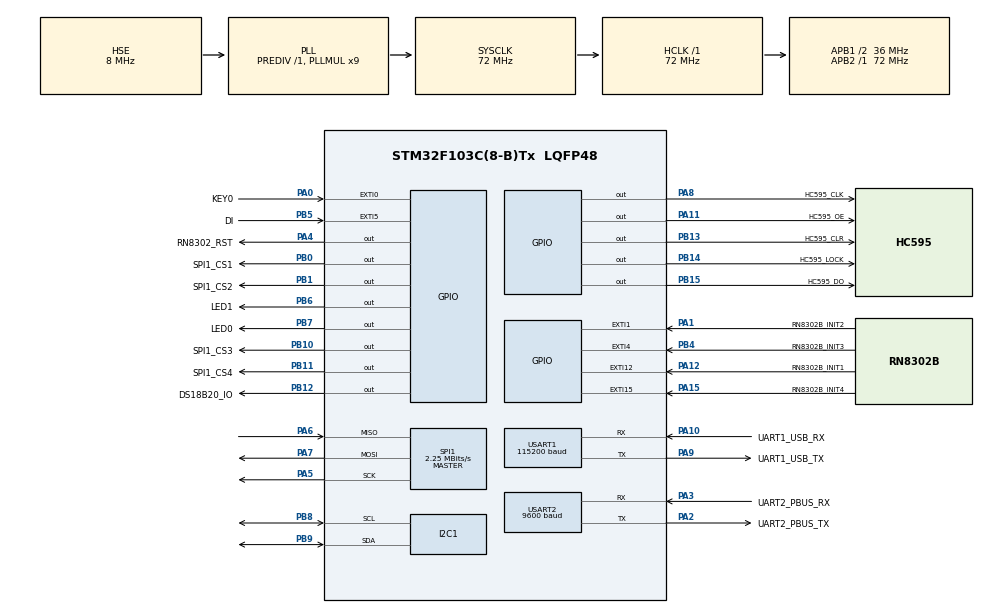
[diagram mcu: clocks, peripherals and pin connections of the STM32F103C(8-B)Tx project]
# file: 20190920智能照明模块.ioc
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Dma.Request0=USART1_RX
Dma.USART1_RX.0.Direction=DMA_PERIPH_TO_MEMORY
Dma.USART1_RX.0.Instance=DMA1_Channel5
Dma.USART1_RX.0.MemDataAlignment=DMA_MDATAALIGN_BYTE
Dma.USART1_RX.0.MemInc=DMA_MINC_ENABLE
Dma.USART1_RX.0.Mode=DMA_NORMAL
Dma.USART1_RX.0.PeriphDataAlignment=DMA_PDATAALIGN_BYTE
Dma.USART1_RX.0.PeriphInc=DMA_PINC_DISABLE
Dma.USART1_RX.0.Priority=DMA_PRIORITY_LOW
FREERTOS.Tasks01=defaultTask,0,128,StartDefaultTask,Default,NULL
FREERTOS.configMAX_PRIORITIES=32
FREERTOS.configMINIMAL_STACK_SIZE=64
FREERTOS.configTOTAL_HEAP_SIZE=5120
FREERTOS.configUSE_TIMERS=1
IWDG.Prescaler=IWDG_PRESCALER_256
Mcu.Family=STM32F1
Mcu.Name=STM32F103C(8-B)Tx
Mcu.Package=LQFP48
NVIC.DMA1_Channel5_IRQn=true\:0\:0\:true\:false\:true\:true\:false\:true
NVIC.EXTI0_IRQn=true\:4\:0\:true\:false\:true\:true\:true\:true
NVIC.EXTI9_5_IRQn=true\:4\:0\:true\:false\:true\:true\:true\:true
NVIC.PriorityGroup=NVIC_PRIORITYGROUP_4
NVIC.SPI1_IRQn=true\:4\:0\:true\:false\:true\:true\:true\:true
NVIC.USART1_IRQn=true\:5\:0\:true\:false\:true\:true\:true\:true
NVIC.USART2_IRQn=true\:5\:0\:true\:false\:true\:true\:true\:true
PA0-WKUP.GPIO_Label=KEY0
PA0-WKUP.GPIO_ModeDefaultEXTI=GPIO_MODE_IT_FALLING
PA0-WKUP.Signal=GPXTI0
PA1.GPIO_Label=RN8302B_INIT2
PA1.GPIO_ModeDefaultEXTI=GPIO_MODE_IT_FALLING
PA1.Signal=GPXTI1
PA10.GPIO_Label=UART1_USB_RX
PA10.Mode=Asynchronous
PA10.Signal=USART1_RX
PA11.GPIO_Label=HC595_OE
PA11.PinState=GPIO_PIN_RESET
PA11.Signal=GPIO_Output
PA12.GPIO_Label=RN8302B_INIT1
PA12.GPIO_ModeDefaultEXTI=GPIO_MODE_IT_FALLING
PA12.Signal=GPXTI12
PA13.Mode=Serial_Wire
PA13.Signal=SYS_JTMS-SWDIO
PA14.Mode=Serial_Wire
PA14.Signal=SYS_JTCK-SWCLK
PA15.GPIO_Label=RN8302B_INIT4
PA15.GPIO_ModeDefaultEXTI=GPIO_MODE_IT_FALLING
PA15.Signal=GPXTI15
PA2.GPIO_Label=UART2_PBUS_TX
PA2.Mode=Asynchronous
PA2.Signal=USART2_TX
PA3.GPIO_Label=UART2_PBUS_RX
PA3.Mode=Asynchronous
PA3.Signal=USART2_RX
PA4.GPIO_Label=RN8302_RST
PA4.GPIO_Speed=GPIO_SPEED_FREQ_HIGH
PA4.PinState=GPIO_PIN_SET
PA4.Signal=GPIO_Output
PA5.Mode=Full_Duplex_Master
PA5.Signal=SPI1_SCK
PA6.Mode=Full_Duplex_Master
PA6.Signal=SPI1_MISO
PA7.Mode=Full_Duplex_Master
PA7.Signal=SPI1_MOSI
PA8.GPIO_Label=HC595_CLK
PA8.GPIO_Speed=GPIO_SPEED_FREQ_HIGH
PA8.Signal=GPIO_Output
PA9.GPIO_Label=UART1_USB_TX
PA9.Mode=Asynchronous
PA9.Signal=USART1_TX
PB0.GPIO_Label=SPI1_CS1
PB0.GPIO_Speed=GPIO_SPEED_FREQ_HIGH
PB0.PinState=GPIO_PIN_SET
PB0.Signal=GPIO_Output
PB1.GPIO_Label=SPI1_CS2
PB1.GPIO_Speed=GPIO_SPEED_FREQ_HIGH
PB1.PinState=GPIO_PIN_SET
PB1.Signal=GPIO_Output
PB10.GPIO_Label=SPI1_CS3
PB10.GPIO_Speed=GPIO_SPEED_FREQ_HIGH
PB10.PinState=GPIO_PIN_SET
PB10.Signal=GPIO_Output
PB11.GPIO_Label=SPI1_CS4
PB11.GPIO_Speed=GPIO_SPEED_FREQ_HIGH
PB11.PinState=GPIO_PIN_SET
PB11.Signal=GPIO_Output
PB12.GPIO_Label=DS18B20_IO
PB12.GPIO_Speed=GPIO_SPEED_FREQ_HIGH
PB12.PinState=GPIO_PIN_SET
PB12.Signal=GPIO_Output
PB13.GPIO_Label=HC595_CLR
PB13.GPIO_Speed=GPIO_SPEED_FREQ_HIGH
PB13.PinState=GPIO_PIN_SET
PB13.Signal=GPIO_Output
PB14.GPIO_Label=HC595_LOCK
PB14.GPIO_Speed=GPIO_SPEED_FREQ_HIGH
PB14.PinState=GPIO_PIN_RESET
PB14.Signal=GPIO_Output
PB15.GPIO_Label=HC595_DO
PB15.GPIO_Speed=GPIO_SPEED_FREQ_HIGH
PB15.PinState=GPIO_PIN_RESET
PB15.Signal=GPIO_Output
PB3.Signal=SYS_JTDO-TRACESWO
PB4.GPIO_Label=RN8302B_INIT3
PB4.GPIO_ModeDefaultEXTI=GPIO_MODE_IT_FALLING
PB4.Signal=GPXTI4
PB5.GPIO_Label=DI
PB5.GPIO_ModeDefaultEXTI=GPIO_MODE_IT_FALLING
PB5.Signal=GPXTI5
PB6.GPIO_Label=LED1
PB6.PinState=GPIO_PIN_SET
PB6.Signal=GPIO_Output
PB7.GPIO_Label=LED0
PB7.PinState=GPIO_PIN_SET
PB7.Signal=GPIO_Output
PB8.Mode=I2C
PB8.Signal=I2C1_SCL
PB9.Mode=I2C
PB9.Signal=I2C1_SDA
PC14-OSC32_IN.Mode=LSE-External-Oscillator
PC14-OSC32_IN.Signal=RCC_OSC32_IN
PC15-OSC32_OUT.Mode=LSE-External-Oscillator
PC15-OSC32_OUT.Signal=RCC_OSC32_OUT
PD0-OSC_IN.Mode=HSE-External-Oscillator
PD0-OSC_IN.Signal=RCC_OSC_IN
PD1-OSC_OUT.Mode=HSE-External-Oscillator
PD1-OSC_OUT.Signal=RCC_OSC_OUT
ProjectManager.HeapSize=0x200
ProjectManager.StackSize=0x400
ProjectManager.TargetToolchain=TrueSTUDIO
RCC.AHBFreq_Value=72000000
RCC.APB1CLKDivider=RCC_HCLK_DIV2
RCC.APB1Freq_Value=36000000
RCC.APB1TimFreq_Value=72000000
RCC.APB2Freq_Value=72000000
RCC.APB2TimFreq_Value=72000000
RCC.HCLKFreq_Value=72000000
RCC.PLLMUL=RCC_PLL_MUL9
RCC.PLLSourceVirtual=RCC_PLLSOURCE_HSE
RCC.RTCClockSelection=RCC_RTCCLKSOURCE_LSE
RCC.SYSCLKFreq_VALUE=72000000
RCC.SYSCLKSource=RCC_SYSCLKSOURCE_PLLCLK
RCC.USBFreq_Value=72000000
SPI1.BaudRatePrescaler=SPI_BAUDRATEPRESCALER_32
SPI1.CLKPhase=SPI_PHASE_2EDGE
SPI1.CLKPolarity=SPI_POLARITY_LOW
SPI1.CalculateBaudRate=2.25 MBits/s
SPI1.Direction=SPI_DIRECTION_2LINES
SPI1.Mode=SPI_MODE_MASTER
SPI1.VirtualType=VM_MASTER
TIM4.AutoReloadPreload=TIM_AUTORELOAD_PRELOAD_ENABLE
TIM4.Period=1
TIM4.Prescaler=71
USART1.BaudRate=115200
USART1.VirtualMode=VM_ASYNC
USART2.BaudRate=9600
USART2.VirtualMode=VM_ASYNC
VP_FREERTOS_VS_CMSIS_V1.Mode=CMSIS_V1
VP_IWDG_VS_IWDG.Mode=IWDG_Activate
VP_RTC_VS_RTC_Activate.Mode=RTC_Enabled
VP_TIM4_VS_ClockSourceINT.Mode=Internal
board=custom

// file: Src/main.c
/* USER CODE BEGIN Header */
/**
  ******************************************************************************
  * @file           : main.c
  * @brief          : Main program body
  ******************************************************************************
  * @attention
  *
  * <h2><center>&copy; Copyright (c) 2019 STMicroelectronics.
  * All rights reserved.</center></h2>
  *
  * This software component is licensed by ST under BSD 3-Clause license,
  * the "License"; You may not use this file except in compliance with the
  * License. You may obtain a copy of the License at:
  *                        opensource.org/licenses/BSD-3-Clause
  *
  ******************************************************************************
  */
/* USER CODE END Header */

/* USER CODE BEGIN Includes */
#include "include.h"
/* USER CODE END Includes */

void SystemClock_Config(void);
void MX_FREERTOS_Init(void);

int main(void)
{

  /* MCU Configuration--------------------------------------------------------*/

  /* Reset of all peripherals, Initializes the Flash interface and the Systick. */
  HAL_Init();

  /* Configure the system clock */
  SystemClock_Config();

  /* Initialize all configured peripherals */
  MX_GPIO_Init();
  MX_I2C1_Init();
  MX_RTC_Init();
  MX_SPI1_Init();
  MX_USART1_UART_Init();
  MX_USART2_UART_Init();
  MX_TIM4_Init();
  MX_IWDG_Init();
  /* USER CODE BEGIN 2 */
  usmart_dev.init(72);
  fnDl645Fft_init();
  delay_init();
  HAL_UART_Receive_IT(&huart1, (uint8_t *)aRxBuffer, RXBUFFERSIZE);//该函数会开启接收中断：标志位UART_IT_RXNE，并且设置接收缓冲以及接收缓冲接收最大数据量
  printf("串口试验\r\n");
  /* USER CODE END 2 */

  /* Call init function for freertos objects (in freertos.c) */
  MX_FREERTOS_Init();

  /* Start scheduler */
  osKernelStart();

  /* We should never get here as control is now taken by the scheduler */

  /* Infinite loop */
  while (1)
  {

  }
}

void SystemClock_Config(void)
{
  RCC_OscInitTypeDef RCC_OscInitStruct = {0};
  RCC_ClkInitTypeDef RCC_ClkInitStruct = {0};
  RCC_PeriphCLKInitTypeDef PeriphClkInit = {0};

  /** Initializes the CPU, AHB and APB busses clocks
  */
  RCC_OscInitStruct.OscillatorType = RCC_OSCILLATORTYPE_LSI|RCC_OSCILLATORTYPE_HSE
                              |RCC_OSCILLATORTYPE_LSE;
  RCC_OscInitStruct.HSEState = RCC_HSE_ON;
  RCC_OscInitStruct.HSEPredivValue = RCC_HSE_PREDIV_DIV1;
  RCC_OscInitStruct.LSEState = RCC_LSE_ON;
  RCC_OscInitStruct.HSIState = RCC_HSI_ON;
  RCC_OscInitStruct.LSIState = RCC_LSI_ON;
  RCC_OscInitStruct.PLL.PLLState = RCC_PLL_ON;
  RCC_OscInitStruct.PLL.PLLSource = RCC_PLLSOURCE_HSE;
  RCC_OscInitStruct.PLL.PLLMUL = RCC_PLL_MUL9;
  if (HAL_RCC_OscConfig(&RCC_OscInitStruct) != HAL_OK)
  {
    Error_Handler();
  }
  /** Initializes the CPU, AHB and APB busses clocks
  */
  RCC_ClkInitStruct.ClockType = RCC_CLOCKTYPE_HCLK|RCC_CLOCKTYPE_SYSCLK
                              |RCC_CLOCKTYPE_PCLK1|RCC_CLOCKTYPE_PCLK2;
  RCC_ClkInitStruct.SYSCLKSource = RCC_SYSCLKSOURCE_PLLCLK;
  RCC_ClkInitStruct.AHBCLKDivider = RCC_SYSCLK_DIV1;
  RCC_ClkInitStruct.APB1CLKDivider = RCC_HCLK_DIV2;
  RCC_ClkInitStruct.APB2CLKDivider = RCC_HCLK_DIV1;

  if (HAL_RCC_ClockConfig(&RCC_ClkInitStruct, FLASH_LATENCY_2) != HAL_OK)
  {
    Error_Handler();
  }
  PeriphClkInit.PeriphClockSelection = RCC_PERIPHCLK_RTC;
  PeriphClkInit.RTCClockSelection = RCC_RTCCLKSOURCE_LSE;
  if (HAL_RCCEx_PeriphCLKConfig(&PeriphClkInit) != HAL_OK)
  {
    Error_Handler();
  }
}

/* USER CODE BEGIN 4 */
uint8_t LED(uint8_t temp1,uint8_t temp2,uint8_t temp3)
{
	HAL_GPIO_TogglePin(LED1_GPIO_Port,LED1_Pin);
	delay_ms(1000);
    uint8_t res=11;
    printf("%d\r\n",temp1);
    printf("%d\r\n",temp2);
    printf("%d\r\n",temp3);
    return res;
}
/* USER CODE END 4 */

void Error_Handler(void)
{
}

/************************ (C) COPYRIGHT STMicroelectronics *****END OF FILE****/

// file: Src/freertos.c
/* USER CODE BEGIN Header */
/**
  ******************************************************************************
  * File Name          : freertos.c
  * Description        : Code for freertos applications
  ******************************************************************************
  * @attention
  *
  * <h2><center>&copy; Copyright (c) 2019 STMicroelectronics.
  * All rights reserved.</center></h2>
  *
  * This software component is licensed by ST under Ultimate Liberty license
  * SLA0044, the "License"; You may not use this file except in compliance with
  * the License. You may obtain a copy of the License at:
  *                             www.st.com/SLA0044
  *
  ******************************************************************************
  */
/* USER CODE END Header */

#include "FreeRTOS.h"
#include "task.h"
#include "main.h"
#include "cmsis_os.h"

/* USER CODE BEGIN Includes */
#include "include.h"
/* USER CODE END Includes */

/* USER CODE BEGIN Variables */
osThreadId StartTaskHandle;
/* USER CODE END Variables */
osThreadId defaultTaskHandle;

/* USER CODE BEGIN FunctionPrototypes */
void StartTask(void *pvParameters);   //初始化任务
/* USER CODE END FunctionPrototypes */

void StartDefaultTask(void const * argument);
void MX_FREERTOS_Init(void); /* (MISRA C 2004 rule 8.1) */

void MX_FREERTOS_Init(void) {

  /* Create the thread(s) */
  /* definition and creation of defaultTask */
  osThreadDef(defaultTask, StartDefaultTask, osPriorityNormal, 0, 128);
  defaultTaskHandle = osThreadCreate(osThread(defaultTask), NULL);

  /* USER CODE BEGIN RTOS_THREADS */
  /* add threads, ... */
  osThreadDef(startTask, StartTask, osPriorityNormal, 1, 128);
  StartTaskHandle = osThreadCreate(osThread(startTask), NULL);
  /* USER CODE END RTOS_THREADS */

}

void StartDefaultTask(void const * argument)
{

  /* USER CODE BEGIN StartDefaultTask */
  /* Infinite loop */
  for (;;) {
	HAL_IWDG_Refresh(&hiwdg);
//	HAL_GPIO_TogglePin(LED1_GPIO_Port,LED1_Pin);
	usmart_scan();
    osDelay(200);
//    delay_ms(200);
//    Three_Phase_Unbalance();
    HAL_GPIO_TogglePin(LED0_GPIO_Port,LED0_Pin);
//    printf("串口试验\r\n");
  }
  /* USER CODE END StartDefaultTask */
}

/* USER CODE BEGIN Application */
void StartTask(void *pvParameters)
{

  /* USER CODE BEGIN StartDefaultTask */
  /* Infinite loop */
  for (;;) {

//	HAL_IWDG_Refresh(&hiwdg);
    osDelay(1000);
//    Fft_Harmonic_Exec();
//    HAL_GPIO_TogglePin(GPIOB, GPIO_PIN_6);

  }
  /* USER CODE END StartDefaultTask */
}
/* USER CODE END Application */

/************************ (C) COPYRIGHT STMicroelectronics *****END OF FILE****/
